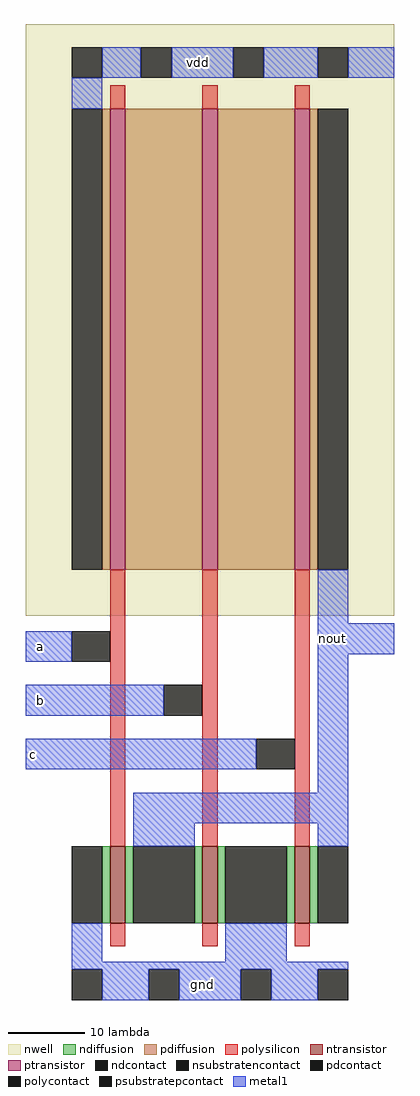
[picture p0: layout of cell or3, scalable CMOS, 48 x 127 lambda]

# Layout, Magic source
magic
tech scmos
<< nwell >>
rect -22 -29 26 48
<< ntransistor >>
rect -11 -69 -9 -59
rect 1 -69 3 -59
rect 13 -69 15 -59
<< ptransistor >>
rect -11 -23 -9 37
rect 1 -23 3 37
rect 13 -23 15 37
<< ndiffusion >>
rect -12 -69 -11 -59
rect -9 -69 -8 -59
rect 0 -69 1 -59
rect 3 -69 4 -59
rect 12 -69 13 -59
rect 15 -69 16 -59
<< pdiffusion >>
rect -12 -23 -11 37
rect -9 -23 1 37
rect 3 -23 13 37
rect 15 -23 16 37
<< ndcontact >>
rect -16 -69 -12 -59
rect -8 -69 0 -59
rect 4 -69 12 -59
rect 16 -69 20 -59
<< pdcontact >>
rect -16 -23 -12 37
rect 16 -23 20 37
<< psubstratepcontact >>
rect -16 -79 -12 -75
rect -6 -79 -2 -75
rect 6 -79 10 -75
rect 16 -79 20 -75
<< nsubstratencontact >>
rect -16 41 -12 45
rect -7 41 -3 45
rect 5 41 9 45
rect 16 41 20 45
<< polysilicon >>
rect -11 37 -9 40
rect 1 37 3 40
rect 13 37 15 40
rect -11 -59 -9 -23
rect 1 -59 3 -23
rect 13 -59 15 -23
rect -11 -72 -9 -69
rect 1 -72 3 -69
rect 13 -72 15 -69
<< polycontact >>
rect -16 -35 -11 -31
rect -4 -42 1 -38
rect 8 -49 13 -45
<< metal1 >>
rect -12 41 -7 45
rect -3 41 5 45
rect 9 41 16 45
rect 20 41 26 45
rect -16 37 -12 41
rect 16 -30 20 -23
rect -22 -35 -16 -31
rect 16 -34 26 -30
rect -22 -42 -4 -38
rect -22 -49 8 -45
rect 16 -52 20 -34
rect -8 -56 20 -52
rect -8 -59 0 -56
rect 16 -59 20 -56
rect -16 -74 -12 -69
rect 4 -74 12 -69
rect -16 -75 20 -74
rect -12 -79 -6 -75
rect -2 -79 6 -75
rect 10 -79 16 -75
<< labels >>
rlabel metal1 -22 -48 -20 -46 3 c
rlabel metal1 -21 -41 -19 -39 3 b
rlabel metal1 -21 -34 -19 -32 3 a
rlabel metal1 -1 42 2 44 5 vdd
rlabel metal1 17 -33 19 -31 1 nout
rlabel metal1 0 -78 2 -76 1 gnd
<< end >>
